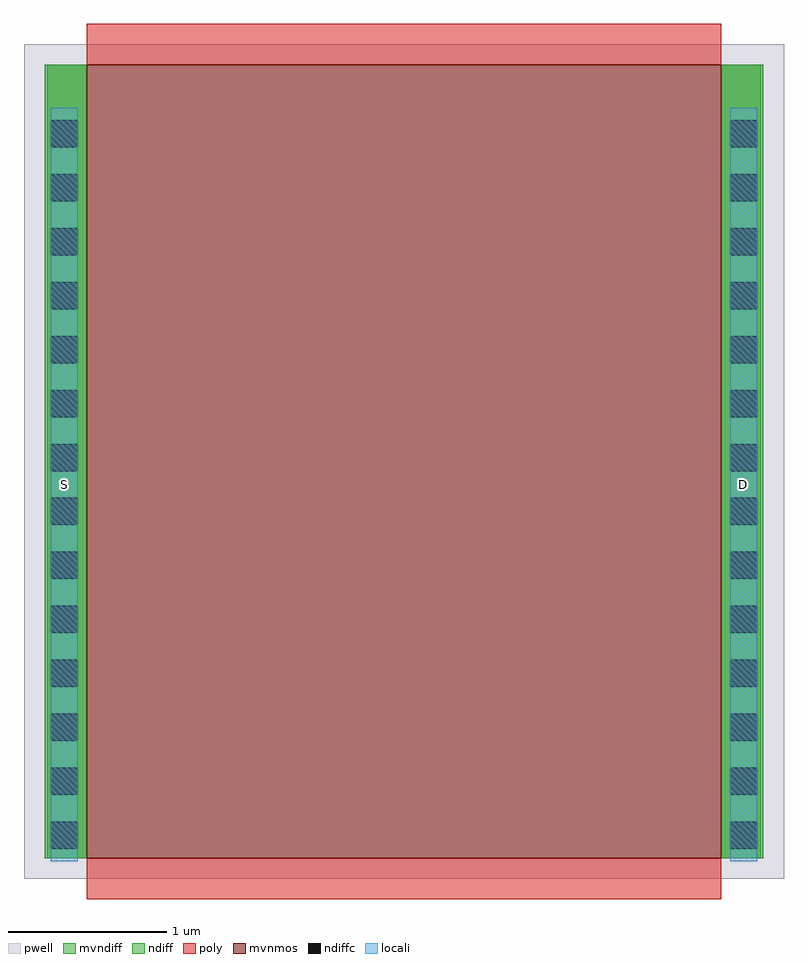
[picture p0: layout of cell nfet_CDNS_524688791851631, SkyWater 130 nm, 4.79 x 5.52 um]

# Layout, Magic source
magic
tech sky130A
magscale 1 2
<< pwell >>
rect -76 -26 876 1026
<< mvnmos >>
rect 0 0 800 1000
<< mvndiff >>
rect -50 0 0 1000
rect 800 0 850 1000
<< poly >>
rect 0 1000 800 1052
rect 0 -52 800 0
<< locali >>
rect -45 -4 -11 946
rect 811 -4 845 946
use DFL1sd_CDNS_5246887918593  DFL1sd_CDNS_5246887918593_0
transform -1 0 0 0 1 0
box -26 -26 79 1026
use DFL1sd_CDNS_5246887918593  DFL1sd_CDNS_5246887918593_1
transform 1 0 800 0 1 0
box -26 -26 79 1026
<< labels >>
flabel comment s -28 471 -28 471 0 FreeSans 300 0 0 0 S
flabel comment s 828 471 828 471 0 FreeSans 300 0 0 0 D
<< properties >>
string GDS_END 96478392
string GDS_FILE $PDKPATH/libs.ref/sky130_fd_io/gds/sky130_fd_io.gds
string GDS_START 96477506
<< end >>

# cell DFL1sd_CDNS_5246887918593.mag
magic
tech sky130A
magscale 1 2
<< pwell >>
rect -26 -26 79 1026
<< ndiff >>
rect 0 930 53 1000
rect 0 896 11 930
rect 45 896 53 930
rect 0 862 53 896
rect 0 828 11 862
rect 45 828 53 862
rect 0 794 53 828
rect 0 760 11 794
rect 45 760 53 794
rect 0 726 53 760
rect 0 692 11 726
rect 45 692 53 726
rect 0 658 53 692
rect 0 624 11 658
rect 45 624 53 658
rect 0 590 53 624
rect 0 556 11 590
rect 45 556 53 590
rect 0 522 53 556
rect 0 488 11 522
rect 45 488 53 522
rect 0 454 53 488
rect 0 420 11 454
rect 45 420 53 454
rect 0 386 53 420
rect 0 352 11 386
rect 45 352 53 386
rect 0 318 53 352
rect 0 284 11 318
rect 45 284 53 318
rect 0 250 53 284
rect 0 216 11 250
rect 45 216 53 250
rect 0 182 53 216
rect 0 148 11 182
rect 45 148 53 182
rect 0 114 53 148
rect 0 80 11 114
rect 45 80 53 114
rect 0 46 53 80
rect 0 12 11 46
rect 45 12 53 46
rect 0 0 53 12
<< ndiffc >>
rect 11 896 45 930
rect 11 828 45 862
rect 11 760 45 794
rect 11 692 45 726
rect 11 624 45 658
rect 11 556 45 590
rect 11 488 45 522
rect 11 420 45 454
rect 11 352 45 386
rect 11 284 45 318
rect 11 216 45 250
rect 11 148 45 182
rect 11 80 45 114
rect 11 12 45 46
<< locali >>
rect 11 930 45 946
rect 11 862 45 896
rect 11 794 45 828
rect 11 726 45 760
rect 11 658 45 692
rect 11 590 45 624
rect 11 522 45 556
rect 11 454 45 488
rect 11 386 45 420
rect 11 318 45 352
rect 11 250 45 284
rect 11 182 45 216
rect 11 114 45 148
rect 11 46 45 80
rect 11 -4 45 12
<< properties >>
string GDS_END 80504242
string GDS_FILE $PDKPATH/libs.ref/sky130_fd_io/gds/sky130_fd_io.gds
string GDS_START 80503150
<< end >>
